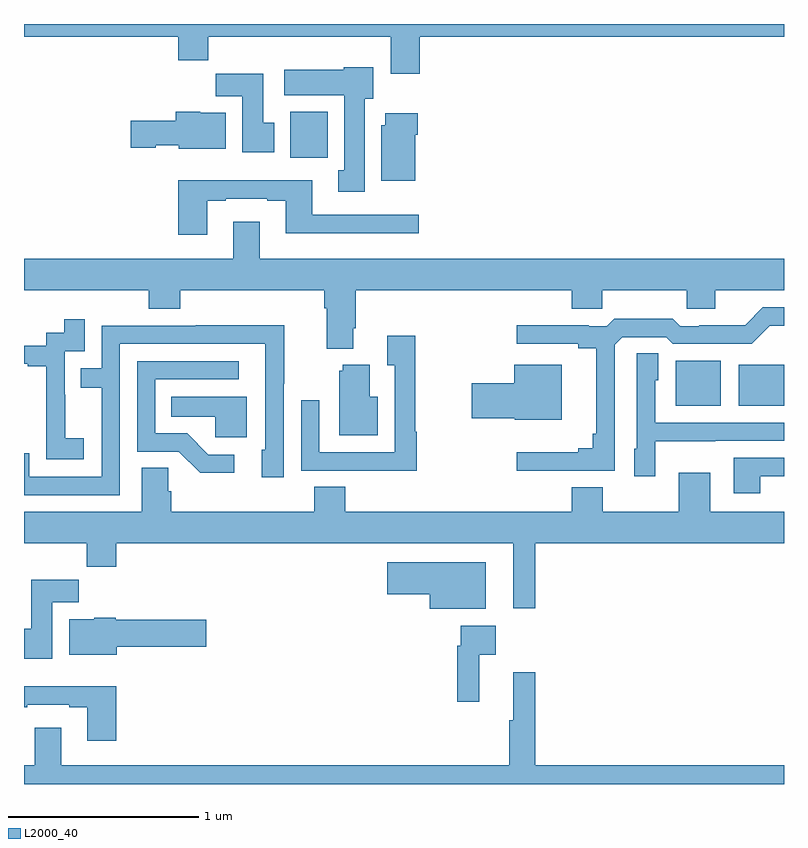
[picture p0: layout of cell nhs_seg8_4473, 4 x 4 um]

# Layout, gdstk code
import gdstk
lib = gdstk.Library(unit=1e-6, precision=1e-09)
def R(c, l, rs):  # rectangles x0, y0, x1, y1
    for r in rs: c.add(gdstk.rectangle(r[:2], r[2:], *l))
def P(c, l, *ps):  # polygons
    for p in ps: c.add(gdstk.Polygon(p, *l))
L2000_40 = (2000, 40)

nhs_seg8_4473 = lib.new_cell('nhs_seg8_4473')
R(nhs_seg8_4473, L2000_40, [(386.429,1115.891,386.668,1116.127), (386.762,1115.891,387,1116.106), (384.401,1117.196,384.598,1117.438)])
P(nhs_seg8_4473, L2000_40, [(385.082,1117.832),(387,1117.832),(387,1117.9),(383,1117.9),(383,1117.832),(383.813,1117.832),(383.813,1117.708),(383.969,1117.708),(383.969,1117.832),(384.929,1117.832),(384.929,1117.638),(385.082,1117.638)],
  [(384.793,1117.506),(384.838,1117.506),(384.838,1117.672),(384.684,1117.672),(384.684,1117.66),(384.369,1117.66),(384.369,1117.526),(384.686,1117.526),(384.686,1117.13),(384.653,1117.13),(384.653,1117.017),(384.793,1117.017)],
  [(384.316,1117.38),(384.259,1117.38),(384.259,1117.639),(384.01,1117.639),(384.01,1117.52),(384.149,1117.52),(384.149,1117.224),(384.316,1117.224)],
  [(384.061,1117.432),(383.928,1117.432),(383.928,1117.438),(383.798,1117.438),(383.798,1117.392),(383.562,1117.392),(383.562,1117.25),(383.694,1117.25),(383.694,1117.262),(383.814,1117.262),(383.814,1117.244),(384.061,1117.244)],
  [(385.06,1117.316),(385.073,1117.316),(385.073,1117.429),(384.902,1117.429),(384.902,1117.368),(384.881,1117.368),(384.881,1117.076),(385.06,1117.076)],
  [(383.965,1116.969),(384.061,1116.969),(384.061,1116.981),(384.281,1116.981),(384.281,1116.969),(384.377,1116.969),(384.377,1116.8),(385.078,1116.8),(385.078,1116.897),(384.517,1116.897),(384.517,1117.078),(383.813,1117.078),(383.813,1116.792),(383.965,1116.792)],
  [(384.733,1116.298),(384.746,1116.298),(384.746,1116.5),(385.883,1116.5),(385.883,1116.402),(386.043,1116.402),(386.043,1116.5),(386.488,1116.5),(386.488,1116.402),(386.638,1116.402),(386.638,1116.5),(387,1116.5),(387,1116.664),(384.241,1116.664),(384.241,1116.859),(384.101,1116.859),(384.101,1116.664),(383,1116.664),(383,1116.5),(383.657,1116.5),(383.657,1116.401),(383.822,1116.401),(383.822,1116.5),(384.581,1116.5),(384.581,1116.404),(384.593,1116.404),(384.593,1116.191),(384.733,1116.191)],
  [(386.109,1116.213),(386.148,1116.252),(386.379,1116.252),(386.415,1116.216),(386.829,1116.216),(386.924,1116.311),(387,1116.311),(387,1116.408),(386.889,1116.408),(386.795,1116.314),(386.554,1116.314),(386.554,1116.309),(386.454,1116.309),(386.415,1116.349),(386.107,1116.349),(386.067,1116.309),(385.973,1116.309),(385.973,1116.314),(385.593,1116.314),(385.593,1116.216),(385.916,1116.216),(385.916,1116.194),(386.012,1116.194),(386.012,1115.743),(385.993,1115.743),(385.993,1115.666),(385.916,1115.666),(385.916,1115.647),(385.593,1115.647),(385.593,1115.55),(386.109,1115.55)],
  [(383.314,1115.719),(383.216,1115.719),(383.216,1115.948),(383.214,1115.948),(383.214,1116.177),(383.319,1116.177),(383.319,1116.346),(383.211,1116.346),(383.211,1116.276),(383.118,1116.276),(383.118,1116.207),(383,1116.207),(383,1116.111),(383.021,1116.111),(383.021,1116.099),(383.117,1116.099),(383.117,1115.815),(383.116,1115.815),(383.116,1115.609),(383.314,1115.609)],
  [(383.505,1116.216),(384.269,1116.216),(384.269,1115.989),(384.27,1115.989),(384.27,1115.658),(384.251,1115.658),(384.251,1115.514),(384.366,1115.514),(384.366,1116.007),(384.369,1116.007),(384.369,1116.314),(383.905,1116.314),(383.905,1116.312),(383.409,1116.312),(383.409,1116.087),(383.299,1116.087),(383.299,1115.986),(383.409,1115.986),(383.409,1115.517),(383.028,1115.517),(383.028,1115.64),(383,1115.64),(383,1115.421),(383.505,1115.421)],
  [(385.067,1115.753),(385.06,1115.753),(385.06,1116.259),(384.911,1116.259),(384.911,1116.103),(384.951,1116.103),(384.951,1115.646),(384.555,1115.646),(384.555,1115.92),(384.459,1115.92),(384.459,1115.55),(384.775,1115.55),(384.775,1115.549),(385.067,1115.549)],
  [(386.322,1115.705),(386.639,1115.705),(386.639,1115.706),(387,1115.706),(387,1115.802),(386.322,1115.802),(386.322,1116.024),(386.338,1116.024),(386.338,1116.167),(386.226,1116.167),(386.226,1115.664),(386.213,1115.664),(386.213,1115.52),(386.322,1115.52)],
  [(384.106,1115.634),(383.971,1115.634),(383.86,1115.745),(383.691,1115.745),(383.691,1116.03),(384.13,1116.03),(384.13,1116.126),(383.595,1116.126),(383.595,1115.649),(383.814,1115.649),(383.927,1115.537),(384.106,1115.537)],
  [(384.862,1115.938),(384.82,1115.938),(384.82,1116.106),(384.677,1116.106),(384.677,1116.075),(384.659,1116.075),(384.659,1115.735),(384.862,1115.735)],
  [(385.831,1116.106),(385.58,1116.106),(385.58,1116.008),(385.356,1116.008),(385.356,1115.825),(385.584,1115.825),(385.584,1115.816),(385.831,1115.816)],
  [(384.172,1115.938),(383.776,1115.938),(383.776,1115.834),(384.007,1115.834),(384.007,1115.726),(384.172,1115.726)],
  [(386.875,1115.52),(387,1115.52),(387,1115.616),(386.735,1115.616),(386.735,1115.43),(386.875,1115.43)],
  [(385.691,1115.168),(387,1115.168),(387,1115.332),(386.611,1115.332),(386.611,1115.539),(386.447,1115.539),(386.447,1115.332),(386.047,1115.332),(386.047,1115.461),(385.883,1115.461),(385.883,1115.332),(384.692,1115.332),(384.692,1115.465),(384.527,1115.465),(384.527,1115.332),(383.774,1115.332),(383.774,1115.441),(383.76,1115.441),(383.76,1115.564),(383.621,1115.564),(383.621,1115.332),(383,1115.332),(383,1115.168),(383.329,1115.168),(383.329,1115.044),(383.486,1115.044),(383.486,1115.168),(385.574,1115.168),(385.574,1114.824),(385.691,1114.824)],
  [(385.429,1115.068),(384.912,1115.068),(384.912,1114.898),(385.136,1114.898),(385.136,1114.823),(385.429,1114.823)],
  [(383.149,1114.856),(383.288,1114.856),(383.288,1114.975),(383.039,1114.975),(383.039,1114.716),(383,1114.716),(383,1114.56),(383.149,1114.56)],
  [(383.488,1114.622),(383.959,1114.622),(383.959,1114.764),(383.484,1114.764),(383.484,1114.774),(383.37,1114.774),(383.37,1114.768),(383.237,1114.768),(383.237,1114.58),(383.488,1114.58)],
  [(385.397,1114.58),(385.483,1114.58),(385.483,1114.732),(385.299,1114.732),(385.299,1114.628),(385.279,1114.628),(385.279,1114.332),(385.397,1114.332)],
  [(387,1114),(385.691,1114),(385.691,1114.489),(385.574,1114.489),(385.574,1114.236),(385.555,1114.236),(385.555,1114),(383.197,1114),(383.197,1114.195),(383.057,1114.195),(383.057,1114),(383,1114),(383,1113.9),(387,1113.9)],
  [(383.486,1114.414),(383,1114.414),(383,1114.305),(383.017,1114.305),(383.017,1114.317),(383.237,1114.317),(383.237,1114.305),(383.333,1114.305),(383.333,1114.128),(383.486,1114.128)])

lib.write_gds('nhs_seg8_4473.gds')
